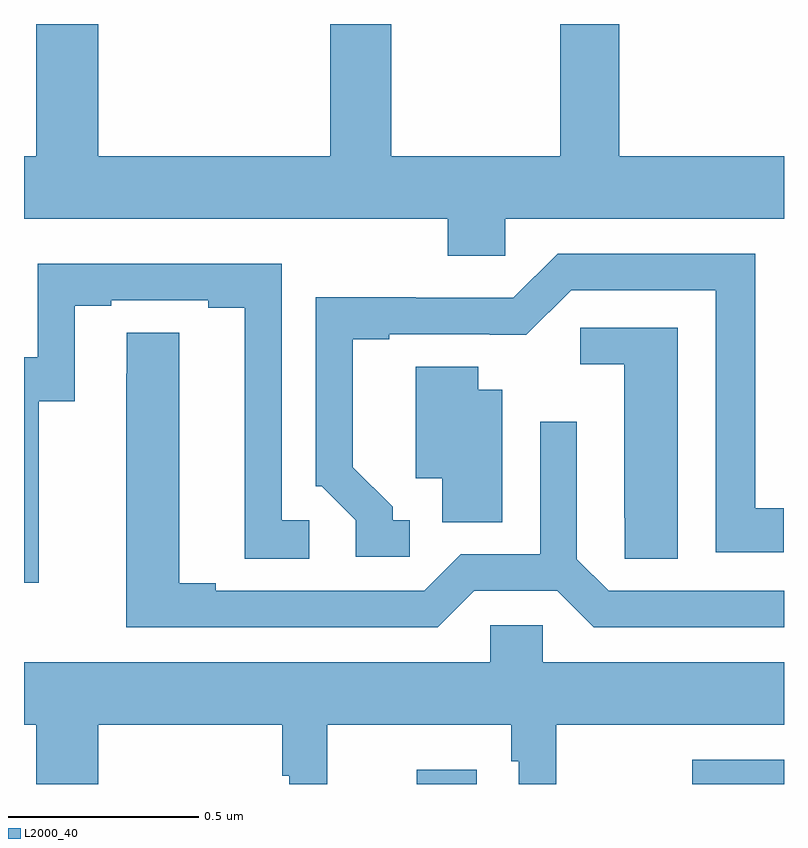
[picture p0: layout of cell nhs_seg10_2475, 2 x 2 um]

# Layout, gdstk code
import gdstk
lib = gdstk.Library(unit=1e-6, precision=1e-09)
def R(c, l, rs):  # rectangles x0, y0, x1, y1
    for r in rs: c.add(gdstk.rectangle(r[:2], r[2:], *l))
def P(c, l, *ps):  # polygons
    for p in ps: c.add(gdstk.Polygon(p, *l))
L2000_40 = (2000, 40)

nhs_seg10_2475 = lib.new_cell('nhs_seg10_2475')
R(nhs_seg10_2475, L2000_40, [(142.034,1293.5,142.192,1293.538), (142.758,1293.5,143,1293.564)])
P(nhs_seg10_2475, L2000_40, [(142.266,1294.988),(143,1294.988),(143,1295.152),(142.566,1295.152),(142.566,1295.5),(142.411,1295.5),(142.411,1295.152),(141.966,1295.152),(141.966,1295.5),(141.806,1295.5),(141.806,1295.152),(141.196,1295.152),(141.196,1295.5),(141.032,1295.5),(141.032,1295.152),(141,1295.152),(141,1294.988),(142.115,1294.988),(142.115,1294.89),(142.266,1294.89)],
  [(142.015,1294.194),(141.97,1294.194),(141.97,1294.229),(141.865,1294.334),(141.865,1294.671),(141.961,1294.671),(141.961,1294.683),(142.226,1294.683),(142.226,1294.682),(142.322,1294.682),(142.44,1294.8),(142.82,1294.8),(142.82,1294.11),(142.999,1294.11),(142.999,1294.226),(142.924,1294.226),(142.924,1294.896),(142.404,1294.896),(142.287,1294.779),(142.031,1294.779),(142.031,1294.781),(141.768,1294.781),(141.768,1294.284),(141.783,1294.284),(141.873,1294.194),(141.873,1294.098),(142.015,1294.098)],
  [(141.039,1294.507),(141.133,1294.507),(141.133,1294.758),(141.229,1294.758),(141.229,1294.773),(141.485,1294.773),(141.485,1294.753),(141.581,1294.753),(141.581,1294.093),(141.751,1294.093),(141.751,1294.194),(141.678,1294.194),(141.678,1294.869),(141.036,1294.869),(141.036,1294.623),(141,1294.623),(141,1294.029),(141.039,1294.029)],
  [(142.72,1294.701),(142.464,1294.701),(142.464,1294.604),(142.58,1294.604),(142.58,1294.201),(142.581,1294.201),(142.581,1294.093),(142.72,1294.093)],
  [(142.185,1294.008),(142.403,1294.008),(142.499,1293.912),(143,1293.912),(143,1294.008),(142.539,1294.008),(142.455,1294.092),(142.455,1294.453),(142.359,1294.453),(142.359,1294.104),(142.149,1294.104),(142.053,1294.008),(141.505,1294.008),(141.505,1294.028),(141.409,1294.028),(141.409,1294.688),(141.27,1294.688),(141.27,1294.58),(141.269,1294.58),(141.269,1293.912),(142.089,1293.912)],
  [(142.258,1294.537),(142.195,1294.537),(142.195,1294.598),(142.031,1294.598),(142.031,1294.304),(142.1,1294.304),(142.1,1294.189),(142.258,1294.189)],
  [(141.196,1293.656),(141.679,1293.656),(141.679,1293.522),(141.698,1293.522),(141.698,1293.5),(141.798,1293.5),(141.798,1293.656),(142.282,1293.656),(142.282,1293.56),(142.302,1293.56),(142.302,1293.5),(142.4,1293.5),(142.4,1293.656),(143,1293.656),(143,1293.82),(142.365,1293.82),(142.365,1293.918),(142.227,1293.918),(142.227,1293.82),(141,1293.82),(141,1293.656),(141.032,1293.656),(141.032,1293.5),(141.196,1293.5)])

lib.write_gds('nhs_seg10_2475.gds')
